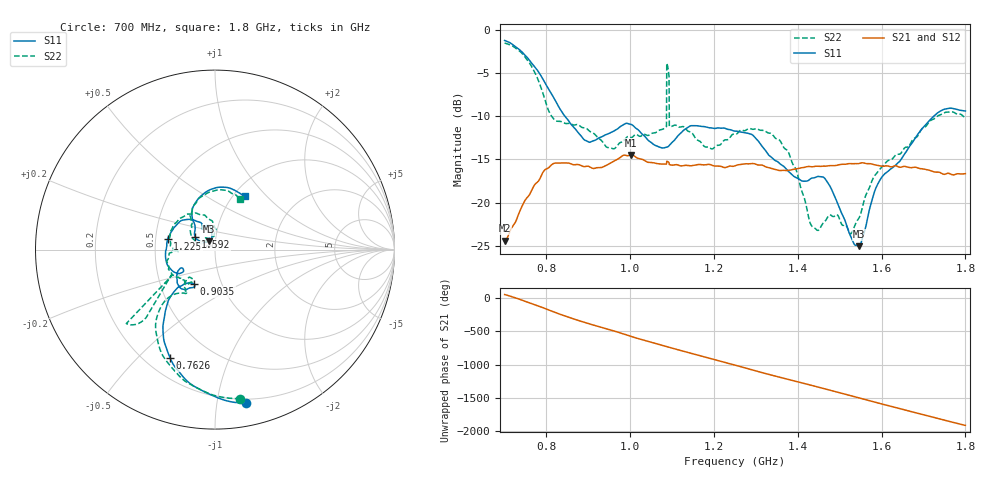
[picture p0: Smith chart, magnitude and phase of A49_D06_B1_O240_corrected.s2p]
! Created with skrf 1.9.0 (http://scikit-rf.org).
# Hz S RI R 50.0
!freq ReS11 ImS11 ReS21 ImS21 ReS12 ImS12 ReS22 ImS22
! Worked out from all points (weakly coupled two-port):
!   1601 points, 700 MHz to 1.8 GHz, reference 50 ohm
!   highest |S21| = -14.47 dB at 1.002 GHz (marker M1); lowest = -24.4 dB at 700.7 MHz (marker M2)
!   lowest |S11| = -25.1 dB at 1.546 GHz (marker M3), VSWR 1.12, Z = 46.8 + j4.33 ohm
!   |S11| at or under -10 dB: 844.4 MHz to 1.724 GHz (879.7 MHz wide, 68.5 % of centre)
!   |S22| runs from -23.6 to -1.5 dB; largest |S21 - S12| = 0.0035
!   S11 on the Smith chart (normalised r, x): 700 MHz: 0.17, -1.21; 762.6 MHz: 0.30, -0.63; 903.5 MHz: 0.74, -0.30; 1.225 GHz: 0.58, +0.08; 1.592 GHz: 0.79, +0.11; 1.8 GHz: 1.13, +0.76
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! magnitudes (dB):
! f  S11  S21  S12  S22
! 700 MHz  -1.2  -24.4  -24.2  -1.5
! 700.7 MHz  -1.2  -24.4  -24.1  -1.5
! 762.6 MHz  -3.7  -18.8  -18.8  -4.0
! 815.5 MHz  -7.7  -15.5  -15.6  -10.2
! 883.6 MHz  -12.3  -15.7  -15.6  -11.2
! 903.5 MHz  -13.0  -15.9  -15.8  -11.7
! 1.002 GHz  -10.9  -14.5  -14.6  -12.5
! 1.067 GHz  -13.5  -15.5  -15.4  -11.7
! 1.081 GHz  -13.6  -15.5  -15.6  -11.4
! 1.087 GHz  -13.6  -15.2  -15.2  -3.8
! 1.093 GHz  -13.4  -15.4  -15.4  -5.3
! 1.099 GHz  -13.1  -15.7  -15.6  -11.2
! 1.225 GHz  -11.4  -15.9  -15.9  -12.8
! 1.25 GHz  -11.7  -15.7  -15.7  -12.1
! 1.357 GHz  -15.5  -16.3  -16.2  -12.8
! 1.434 GHz  -17.2  -15.8  -15.8  -22.7
! 1.469 GHz  -17.5  -15.8  -15.7  -21.9
! 1.546 GHz  -25.1  -15.5  -15.4  -21.8
! 1.592 GHz  -17.7  -15.7  -15.7  -16.4
! 1.617 GHz  -16.3  -15.8  -15.7  -15.1
! 1.733 GHz  -9.6  -16.5  -16.5  -10.0
! 1.8 GHz  -9.4  -16.6  -16.6  -10.1
